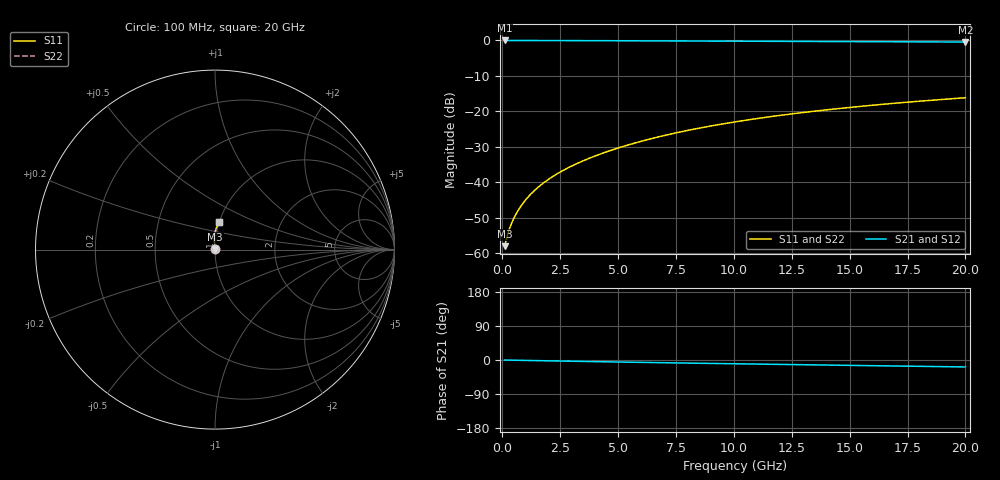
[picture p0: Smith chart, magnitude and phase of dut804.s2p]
! Touchstone file exported from HFSS 2024.1.0
!  File:  C:/UserFiles/LocalFiles/RDL_TSV_Batchsim/temp_RDL_bottom_804_1779862084.aedt
!  Generated:  02:10:26 PM May 27, 2026
!  Design:  RDL_bottom
!  Project:  temp_RDL_bottom_804_1779862084
!  Setup:  Setup1
!  Solution:  Sweep
! Variables:
!  dtsv = 10.80580581um
!  hbump = 3um
!  htsv = 82.46um
!  ldown = 264.2um
!  lrdl = 100um
!  p = 40
!  p1 = 48.28um
!  rhole = 1um
!  t = 450um
!  tdown = 3.87um
!  trdl = 3.915915916um
!  wdown = 29.2um
!  wrdl = 20um
# GHz S MA R 50.000000
! Terminal data exported
! Port[1] = RDL1_T1
! Port[2] = RDL1_T2
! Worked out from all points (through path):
!   200 points, 100 MHz to 20 GHz, reference 50 ohm
!   highest |S21| = -0.01 dB at 100 MHz (marker M1); lowest = -0.4 dB at 20 GHz (marker M2)
!   group delay of S21, straight-line fit = 2.5 ps
!   lowest |S11| = -58.0 dB at 100 MHz (marker M3), VSWR 1.00, Z = 50.1 + j0.066 ohm
!   |S11| at or under -10 dB: start of sweep to end of sweep
!   |S22| runs from -58.0 to -16.2 dB; largest |S21 - S12| = 7.3e-15
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0.1  0.001256 31.6  0.9989 -0.1  0.9989 -0.1  0.001256 31.6
! Gamma 0 0 0 0
! Port Impedance 50 0 50 0
0.2  0.001702 47.5  0.9988 -0.2  0.9988 -0.2  0.001702 47.5
0.3  0.002172 56.0  0.9987 -0.3  0.9987 -0.3  0.002172 56.0
0.4  0.002641 61.7  0.9986 -0.5  0.9986 -0.5  0.002641 61.7
0.5  0.003115 66.0  0.9985 -0.6  0.9985 -0.6  0.003115 66.0
0.6  0.003596 69.4  0.9985 -0.7  0.9985 -0.7  0.003596 69.4
0.8  0.004586 74.5  0.9983 -0.9  0.9983 -0.9  0.004586 74.5
1  0.005606 78.1  0.9981 -1.1  0.9981 -1.1  0.005606 78.1
1.2  0.006651 80.8  0.9979 -1.3  0.9979 -1.3  0.006651 80.8
1.7  0.009355 85.4  0.9972 -1.9  0.9972 -1.9  0.009355 85.4
2.2  0.01218 88.4  0.9964 -2.4  0.9964 -2.4  0.01218 88.4
2.8  0.01574 90.9  0.9952 -3.1  0.9952 -3.1  0.01574 90.9
3.5  0.02013 92.9  0.9934 -3.8  0.9934 -3.8  0.02013 92.9
4.2  0.02478 94.2  0.9915 -4.5  0.9915 -4.5  0.02478 94.2
5  0.03041 95.1  0.9892 -5.3  0.9892 -5.3  0.03041 95.1
6.8  0.04409 95.4  0.9835 -7.1  0.9835 -7.1  0.04409 95.4
8.4  0.05711 94.6  0.9786 -8.5  0.9786 -8.5  0.05711 94.6
10.1  0.07145 93.1  0.9736 -10.0  0.9736 -10.0  0.07146 93.1
11.7  0.08518 91.3  0.9692 -11.4  0.9692 -11.4  0.08519 91.4
13.4  0.09983 89.4  0.9649 -12.9  0.9649 -12.9  0.09983 89.4
16.7  0.128 85.5  0.957 -15.6  0.957 -15.6  0.128 85.5
20  0.1555 81.6  0.9495 -18.3  0.9495 -18.3  0.1555 81.7
